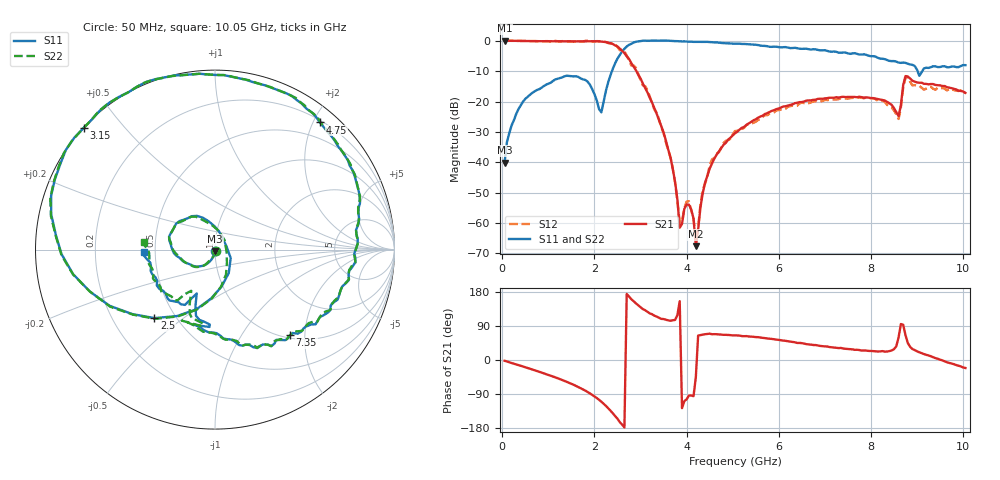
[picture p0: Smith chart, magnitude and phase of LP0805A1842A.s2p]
! AVX THIN FILM OPERATION
! 0805 Size Low Pass Filter P/N  LP0805A1842AWTR
!	Network	Analyzer	HP8720ES.07.64:	Feb	"23,"	2000	Serial	No.	US39172382
!	Hewlett-Packard
!	2	Feb	2003	04:02:59
!	Frequency	S11	S21	S12	S22
#	HZ	S	DB	R	50
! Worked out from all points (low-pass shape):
!   201 points, 50 MHz to 10.05 GHz, reference 50 ohm
!   highest |S21| = 0.00 dB at 50 MHz (marker M1); lowest = -67.6 dB at 4.2 GHz (marker M2)
!   |S21| within 3 dB of the highest: start of sweep to 2.58 GHz
!   lowest |S11| = -40.1 dB at 50 MHz (marker M3), VSWR 1.02, Z = 50 - j0.99 ohm
!   |S11| at or under -10 dB: start of sweep to 2.38 GHz; 9.012 GHz to 9.115 GHz (103.3 MHz wide, 1.14 % of centre)
!   |S22| runs from -40.1 to 0.1 dB; largest |S21 - S12| = 0.065
!   S11 on the Smith chart (normalised r, x): 50 MHz: 1.00, -0.02; 2.5 GHz: 0.38, -0.39; 3.15 GHz: 0.00, +0.39; 4.75 GHz: 0.23, +2.10; 7.35 GHz: 1.05, -1.69; 10.05 GHz: 0.43, -0.01
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5e7  -40.09 -89.2  -0.00 -2.1  0.03 -2.2  -40.09 -40.4
2e8  -27.93 -102.7  -0.01 -7.9  -0.04 -7.8  -27.93 -104.7
5e8  -19.11 -125.9  -0.10 -19.2  -0.08 -19.6  -19.11 -125.6
1.75e9  -12.71 131.0  -0.20 -77.5  -0.32 -77.7  -12.71 132.4
2.15e9  -23.56 17.2  -0.28 -110.1  -0.25 -110.5  -23.56 -12.0
2.5e9  -5.86 -131.5  -1.88 -155.1  -2.10 -159.6  -5.86 -130.8
2.8e9  -1.01 174.9  -7.37 160.3  -8.14 161.1  -1.01 175.2
3.15e9  -0.02 137.1  -17.02 127.3  -16.27 123.4  -0.02 138.6
3.4e9  0.01 118.6  -26.05 111.5  -25.89 107.1  0.01 119.2
3.7e9  -0.10 100.5  -42.21 104.8  -42.10 105.2  -0.10 100.8
3.85e9  -0.20 92.4  -61.52 155.1  -59.65 164.6  -0.20 92.3
4.05e9  -0.32 82.3  -53.92 -93.8  -52.83 -109.1  -0.32 81.7
4.2e9  -0.39 75.1  -67.59 -45.5  -65.55 -61.5  -0.39 73.7
4.4e9  -0.38 66.0  -46.68 68.0  -47.04 63.0  -0.38 64.2
4.75e9  -0.74 50.5  -35.37 67.2  -35.23 68.5  -0.74 49.9
5.05e9  -0.96 38.0  -30.45 64.9  -29.72 62.1  -0.96 36.1
6.75e9  -2.79 -27.6  -19.45 39.6  -20.00 39.7  -2.79 -27.3
7.35e9  -3.95 -48.8  -18.54 31.8  -18.90 29.8  -3.95 -49.6
8.4e9  -6.64 -88.9  -20.58 23.5  -21.72 20.4  -6.64 -91.0
8.6e9  -7.18 -101.5  -24.81 59.5  -25.75 55.0  -7.18 -106.0
8.8e9  -7.58 -94.1  -11.77 45.0  -11.95 37.0  -7.58 -98.8
1.005e10  -8.03 -178.3  -17.16 -21.1  -17.14 -17.7  -8.03 173.8
